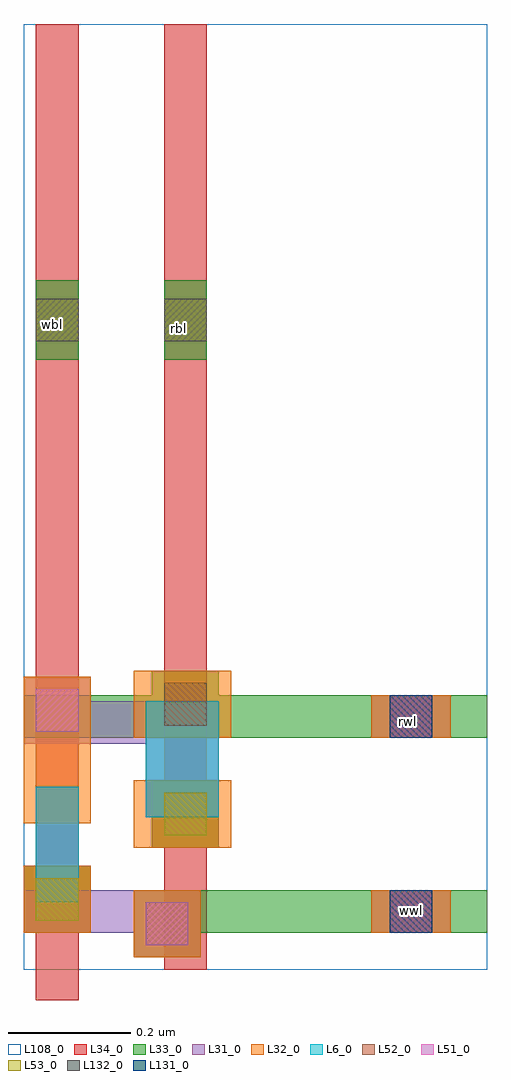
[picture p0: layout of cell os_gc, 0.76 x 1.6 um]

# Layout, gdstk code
import gdstk
lib = gdstk.Library(unit=1e-6, precision=1e-09)
def R(c, l, rs):  # rectangles x0, y0, x1, y1
    for r in rs: c.add(gdstk.rectangle(r[:2], r[2:], *l))
L6_0 = (6, 0)
L31_0 = (31, 0)
L32_0 = (32, 0)
L33_0 = (33, 0)
L34_0 = (34, 0)
L51_0 = (51, 0)
L52_0 = (52, 0)
L53_0 = (53, 0)
L108_0 = (108, 0)
L131_0 = (131, 0)
L132_0 = (132, 0)

os_gc = lib.new_cell('os_gc')
R(os_gc, L6_0, [(0.02,0.11,0.09,0.3), (0.2,0.25,0.32,0.44)])
R(os_gc, L31_0, [(0.18,0.02,0.29,0.13), (0,0.06,0.19,0.13), (0.57,0.06,0.7,0.13), (0.02,0.11,0.09,0.3), (0.2,0.25,0.32,0.44), (0,0.37,0.11,0.48), (0.03,0.37,0.32,0.44), (0.57,0.38,0.7,0.45)])
R(os_gc, L32_0, [(0.18,0.02,0.29,0.13), (0,0.06,0.11,0.17), (0.57,0.06,0.7,0.13), (0.18,0.2,0.34,0.31), (0,0.24,0.11,0.48), (0.18,0.38,0.34,0.49), (0.57,0.38,0.7,0.45)])
R(os_gc, L33_0, [(0.18,0.02,0.29,0.13), (0,0.06,0.11,0.17), (0.19,0.06,0.76,0.13), (0.21,0.2,0.32,0.31), (0,0.38,0.76,0.45), (0.21,0.38,0.32,0.49), (0.02,1,0.09,1.13), (0.02,1,0.09,1.13), (0.23,1,0.3,1.13), (0.23,1,0.3,1.13), (0.02,1.03,0.09,1.1), (0.23,1.03,0.3,1.1)])
R(os_gc, L34_0, [(0.02,-0.05,0.09,1.55), (0.23,0,0.3,1.55), (0,0.06,0.11,0.17), (0.21,0.2,0.32,0.31)])
R(os_gc, L51_0, [(0.2,0.04,0.27,0.11), (0.6,0.06,0.67,0.13), (0.6,0.38,0.67,0.45), (0.02,0.39,0.09,0.46)])
R(os_gc, L52_0, [(0.2,0.04,0.27,0.11), (0.6,0.06,0.67,0.13), (0.02,0.08,0.09,0.15), (0.23,0.22,0.3,0.29), (0.6,0.38,0.67,0.45), (0.23,0.4,0.3,0.47)])
R(os_gc, L53_0, [(0.02,0.08,0.09,0.15), (0.23,0.22,0.3,0.29), (0.02,1.03,0.09,1.1), (0.23,1.03,0.3,1.1)])
R(os_gc, L108_0, [(0,0,0.76,1.55)])
R(os_gc, L131_0, [(0.6,0.06,0.67,0.13), (0.6,0.38,0.67,0.45)])
R(os_gc, L132_0, [(0.02,1.03,0.09,1.1), (0.23,1.03,0.3,1.1)])
os_gc.add(gdstk.Label('rbl', (0.254,1.051), layer=132, texttype=0))
os_gc.add(gdstk.Label('wbl', (0.048,1.058), layer=132, texttype=0))
os_gc.add(gdstk.Label('rwl', (0.629,0.407), layer=131, texttype=0))
os_gc.add(gdstk.Label('wwl', (0.635,0.096), layer=131, texttype=0))

lib.write_gds('os_gc.gds')
